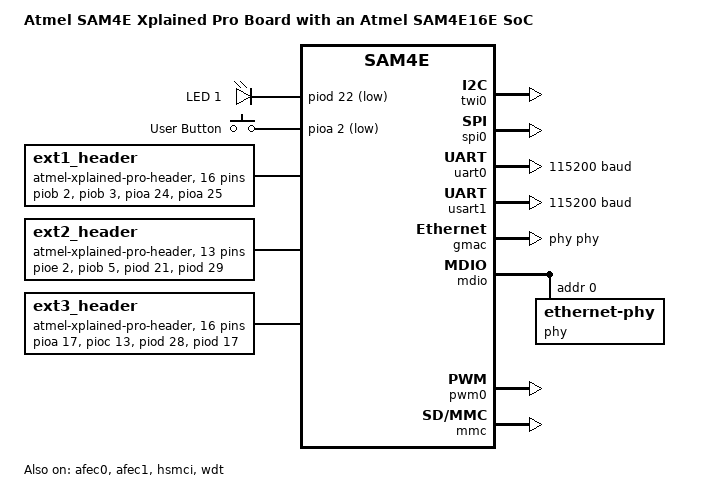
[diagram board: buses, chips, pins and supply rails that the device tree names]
/*
 * Copyright (c) 2019-2023 Gerson Fernando Budke
 *
 * SPDX-License-Identifier: Apache-2.0
 */

/dts-v1/;

#include <atmel/sam4e16e.dtsi>
#include "sam4e_xpro-pinctrl.dtsi"
#include <zephyr/dt-bindings/input/input-event-codes.h>

/ {
	model = "Atmel SAM4E Xplained Pro Board with an Atmel SAM4E16E SoC";
	compatible = "atmel,sam4e_xpro", "atmel,sam4e16e", "atmel,sam4e";

	aliases {
		i2c-0 = &twi0;
		pwm-0 = &pwm0;
		led0 = &yellow_led_1;
		sw0 = &user_button;
		wdog = &wdt;
		watchdog0 = &wdt;
		sdhc0 = &hsmci;
	};

	chosen {
		zephyr,console = &uart0;
		zephyr,shell-uart = &uart0;
		zephyr,sram = &sram0;
		zephyr,flash = &flash0;
	};

	leds {
		compatible = "gpio-leds";

		yellow_led_1: led_1 {
			gpios = <&piod 22 GPIO_ACTIVE_LOW>;
			label = "LED 1";
		};
	};

	gpio_keys {
		compatible = "gpio-keys";

		user_button: button_1 {
			label = "User Button";
			gpios = <&pioa 2 (GPIO_PULL_UP | GPIO_ACTIVE_LOW)>;
			zephyr,code = <INPUT_KEY_0>;
		};
	};

	ext1_header: xplained-pro-connector1 {
		compatible = "atmel-xplained-pro-header";
		#gpio-cells = <2>;
		gpio-map-mask = <0xffffffff 0xffffffc0>;
		gpio-map-pass-thru = <0 0x3f>;

		/* dts-format off */
					      /*           Shared */
		gpio-map = <0  0 &piob  2 0>, /* AFE AD0          */
			   <1  0 &piob  3 0>, /* AFE AD1          */
			   <2  0 &pioa 24 0>, /* GPIO             */
			   <3  0 &pioa 25 0>, /* GPIO             */
			   <4  0 &pioa 15 0>, /* TIOA1            */
			   <5  0 &pioa 16 0>, /* TIOB1            */
			   <6  0 &pioa 11 0>, /* WKUP7            */
			   <7  0 &piod 25 0>, /* GPIO             */
			   <8  0 &pioa  3 0>, /* TWD0        EXTx */
			   <9  0 &pioa  4 0>, /* TWCK0       EXTx */
			   <10 0 &pioa 21 0>, /* RXD1             */
			   <11 0 &pioa 22 0>, /* TXD1             */
			   <12 0 &piob 14 0>, /* SPI(NPCS1)       */
			   <13 0 &pioa 13 0>, /* SPI(MOSI)   EXTx */
			   <14 0 &pioa 12 0>, /* SPI(MISO)   EXTx */
			   <15 0 &pioa 14 0>; /* SPI(SCK)    EXTx */
					      /* GND              */
					      /* +3.3V            */
		/* dts-format on */
	};

	ext2_header: xplained-pro-connector2 {
		compatible = "atmel-xplained-pro-header";
		#gpio-cells = <2>;
		gpio-map-mask = <0xffffffff 0xffffffc0>;
		gpio-map-pass-thru = <0 0x3f>;

		/* dts-format off */
						/*           Shared */
		gpio-map = /*<0  0 -      - 0>,	   -                */
			   /*<1  0 -      - 0>,	   -                */
			     <2  0 &pioe  2 0>,	/* GPIO        EBDG */
			     <3  0 &piob  5 0>,	/* GPIO        EDBG */
			     <4  0 &piod 21 0>,	/* PWMHI1           */
			   /*<5  0 -      - 0>,	   -                */
			     <6  0 &piod 29 0>,	/* GPIO        ETH  */
			     <7  0 &piob  4 0>,	/* GPIO             */
			     <8  0 &pioa  3 0>,	/* TWD0        EXTx */
			     <9  0 &pioa  4 0>,	/* TWCK0       EXTx */
			     <10 0 &pioa  5 0>,	/* URXD1       EXT3 */
			     <11 0 &pioa  6 0>,	/* UTXD1       EXT3 */
			     <12 0 &piod 23 0>,	/* GPIO             */
			     <13 0 &pioa 13 0>,	/* SPI(MOSI)   EXTx */
			     <14 0 &pioa 12 0>,	/* SPI(MISO)   EXTx */
			     <15 0 &pioa 14 0>;	/* SPI(SCK)    EXTx */
						/* GND              */
						/* +3.3V            */
		/* dts-format on */
	};

	ext3_header: xplained-pro-connector3 {
		compatible = "atmel-xplained-pro-header";
		#gpio-cells = <2>;
		gpio-map-mask = <0xffffffff 0xffffffc0>;
		gpio-map-pass-thru = <0 0x3f>;

		/* dts-format off */
					      /*           Shared */
		gpio-map = <0  0 &pioa 17 0>, /* AFE AD0          */
			   <1  0 &pioc 13 0>, /* AFE AD6          */
			   <2  0 &piod 28 0>, /* GPIO             */
			   <3  0 &piod 17 0>, /* GPIO             */
			   <4  0 &piod 20 0>, /* PWMH0            */
			   <5  0 &piod 24 0>, /* PWML0            */
			   <6  0 &pioe  1 0>, /* GPIO             */
			   <7  0 &piod 26 0>, /* GPIO             */
			   <8  0 &pioa  3 0>, /* TWD0        EXTx */
			   <9  0 &pioa  4 0>, /* TWCK0       EXTx */
			   <10 0 &pioa  5 0>, /* URXD1       EXT2 */
			   <11 0 &pioa  6 0>, /* UTXD1       EXT2 */
			   <12 0 &piod 30 0>, /* GPIO             */
			   <13 0 &pioa 13 0>, /* SPI(MOSI)   EXTx */
			   <14 0 &pioa 12 0>, /* SPI(MISO)   EXTx */
			   <15 0 &pioa 14 0>; /* SPI(SCK)    EXTx */
					      /* GND              */
					      /* +3.3V            */
		/* dts-format on */
	};
};

&cpu0 {
	clock-frequency = <120000000>;
};

&afec0 {
	status = "okay";

	pinctrl-0 = <&afec0_default>;
	pinctrl-names = "default";
};

&afec1 {
	status = "okay";

	pinctrl-0 = <&afec1_default>;
	pinctrl-names = "default";
};

&twi0 {
	status = "okay";

	pinctrl-0 = <&twi0_default>;
	pinctrl-names = "default";
};

&spi0 {
	status = "okay";

	pinctrl-0 = <&spi0_default>;
	pinctrl-names = "default";

	cs-gpios = <&piob 14 GPIO_ACTIVE_LOW>,
		   <&piod 23 GPIO_ACTIVE_LOW>,
		   <&piod 30 GPIO_ACTIVE_LOW>;
};

&uart0 {
	status = "okay";
	current-speed = <115200>;

	pinctrl-0 = <&uart0_default>;
	pinctrl-names = "default";
};

&uart1 {
	pinctrl-0 = <&uart1_default>;
	pinctrl-names = "default";
};

&usart1 {
	status = "okay";
	current-speed = <115200>;

	pinctrl-0 = <&usart1_default>;
	pinctrl-names = "default";
};

&gmac {
	status = "okay";

	pinctrl-0 = <&gmac_mii>;
	pinctrl-names = "default";

	zephyr,random-mac-address;

	phy-handle = <&phy>;
};

&mdio {
	status = "okay";

	pinctrl-0 = <&mdio_default>;
	pinctrl-names = "default";

	phy: ethernet-phy@0 {
		compatible = "ethernet-phy";
		status = "okay";
		reg = <0>;
	};
};

&pwm0 {
	status = "okay";

	pinctrl-0 = <&pwm0_default>;
	pinctrl-names = "default";
};

&hsmci {
	status = "okay";

	pinctrl-0 = <&hsmci_default>;
	pinctrl-names = "default";

	mmc {
		compatible = "zephyr,sdmmc-disk";
		disk-name = "SD";
		status = "okay";
	};
};

&wdt {
	status = "okay";
};

ext1_spi: &spi0 {};

ext1_i2c: &twi0 {};

ext1_serial: &usart1 {};

ext2_spi: &spi0 {};

ext2_i2c: &twi0 {};

ext2_serial: &uart1 {};

ext3_spi: &spi0 {};

ext3_i2c: &twi0 {};

ext3_serial: &uart1 {};
